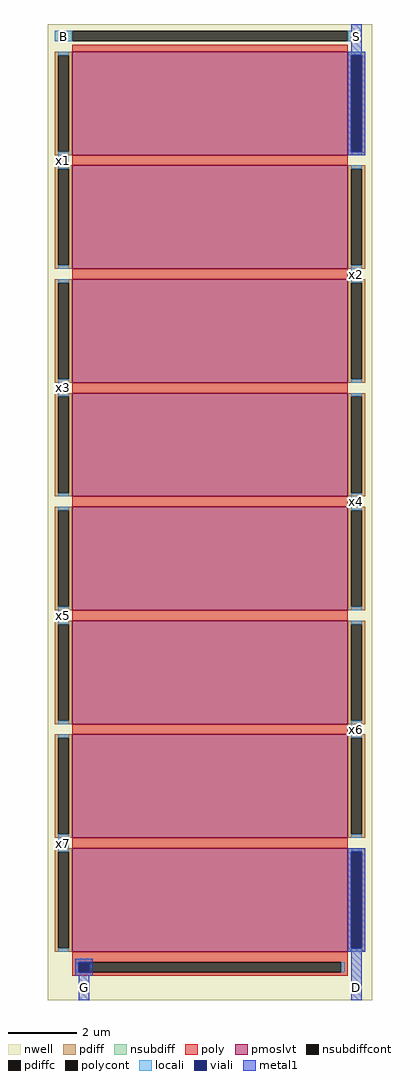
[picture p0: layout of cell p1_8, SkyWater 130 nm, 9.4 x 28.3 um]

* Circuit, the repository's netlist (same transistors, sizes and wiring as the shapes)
* NGSPICE file created from p1_8.ext - technology: sky130A

.subckt p1_8 D G S B
X0 x4 G x3 B sky130_fd_pr__pfet_01v8_lvt ad=3e+12p pd=1.4e+07u as=3e+12p ps=1.4e+07u w=3e+06u l=8e+06u
X1 S G x1 B sky130_fd_pr__pfet_01v8_lvt ad=1.5e+12p pd=7e+06u as=3e+12p ps=1.4e+07u w=3e+06u l=8e+06u
X2 x6 G x5 B sky130_fd_pr__pfet_01v8_lvt ad=3e+12p pd=1.4e+07u as=3e+12p ps=1.4e+07u w=3e+06u l=8e+06u
X3 x2 G x1 B sky130_fd_pr__pfet_01v8_lvt ad=3e+12p pd=1.4e+07u as=0p ps=0u w=3e+06u l=8e+06u
X4 x6 G x7 B sky130_fd_pr__pfet_01v8_lvt ad=0p pd=0u as=3e+12p ps=1.4e+07u w=3e+06u l=8e+06u
X5 x2 G x3 B sky130_fd_pr__pfet_01v8_lvt ad=0p pd=0u as=0p ps=0u w=3e+06u l=8e+06u
X6 x4 G x5 B sky130_fd_pr__pfet_01v8_lvt ad=0p pd=0u as=0p ps=0u w=3e+06u l=8e+06u
X7 D G x7 B sky130_fd_pr__pfet_01v8_lvt ad=1.5e+12p pd=7e+06u as=0p ps=0u w=3e+06u l=8e+06u
.ends

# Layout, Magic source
magic
tech sky130A
<< nwell >>
rect -370 -140 570 2690
<< pmoslvt >>
rect -300 2310 500 2610
rect -300 1980 500 2280
rect -300 1650 500 1950
rect -300 1320 500 1620
rect -300 990 500 1290
rect -300 660 500 960
rect -300 330 500 630
rect -300 0 500 300
<< pdiff >>
rect -350 2600 -300 2610
rect -350 2320 -340 2600
rect -310 2320 -300 2600
rect -350 2310 -300 2320
rect 500 2600 550 2610
rect 500 2320 510 2600
rect 540 2320 550 2600
rect 500 2310 550 2320
rect -350 2270 -300 2280
rect -350 1990 -340 2270
rect -310 1990 -300 2270
rect -350 1980 -300 1990
rect 500 2270 550 2280
rect 500 1990 510 2270
rect 540 1990 550 2270
rect 500 1980 550 1990
rect -350 1940 -300 1950
rect -350 1660 -340 1940
rect -310 1660 -300 1940
rect -350 1650 -300 1660
rect 500 1940 550 1950
rect 500 1660 510 1940
rect 540 1660 550 1940
rect 500 1650 550 1660
rect -350 1610 -300 1620
rect -350 1330 -340 1610
rect -310 1330 -300 1610
rect -350 1320 -300 1330
rect 500 1610 550 1620
rect 500 1330 510 1610
rect 540 1330 550 1610
rect 500 1320 550 1330
rect -350 1280 -300 1290
rect -350 1000 -340 1280
rect -310 1000 -300 1280
rect -350 990 -300 1000
rect 500 1280 550 1290
rect 500 1000 510 1280
rect 540 1000 550 1280
rect 500 990 550 1000
rect -350 950 -300 960
rect -350 670 -340 950
rect -310 670 -300 950
rect -350 660 -300 670
rect 500 950 550 960
rect 500 670 510 950
rect 540 670 550 950
rect 500 660 550 670
rect -350 620 -300 630
rect -350 340 -340 620
rect -310 340 -300 620
rect -350 330 -300 340
rect 500 620 550 630
rect 500 340 510 620
rect 540 340 550 620
rect 500 330 550 340
rect -350 290 -300 300
rect -350 10 -340 290
rect -310 10 -300 290
rect -350 0 -300 10
rect 500 290 550 300
rect 500 10 510 290
rect 540 10 550 290
rect 500 0 550 10
<< pdiffc >>
rect -340 2320 -310 2600
rect 510 2320 540 2600
rect -340 1990 -310 2270
rect 510 1990 540 2270
rect -340 1660 -310 1940
rect 510 1660 540 1940
rect -340 1330 -310 1610
rect 510 1330 540 1610
rect -340 1000 -310 1280
rect 510 1000 540 1280
rect -340 670 -310 950
rect 510 670 540 950
rect -340 340 -310 620
rect 510 340 540 620
rect -340 10 -310 290
rect 510 10 540 290
<< nsubdiff >>
rect -350 2640 -300 2670
rect 500 2640 540 2670
<< nsubdiffcont >>
rect -300 2640 500 2670
<< poly >>
rect -300 2610 500 2630
rect -300 2280 500 2310
rect -300 1950 500 1980
rect -300 1620 500 1650
rect -300 1290 500 1320
rect -300 960 500 990
rect -300 630 500 660
rect -300 300 500 330
rect -300 -30 500 0
rect -300 -60 -280 -30
rect 480 -60 500 -30
rect -300 -70 500 -60
<< polycont >>
rect -280 -60 480 -30
<< locali >>
rect -350 2640 -300 2670
rect 500 2640 540 2670
rect -340 2600 -310 2610
rect -340 2270 -310 2320
rect 510 2600 540 2610
rect 510 2310 540 2320
rect -340 1980 -310 1990
rect 510 2270 540 2280
rect -340 1940 -310 1950
rect -340 1610 -310 1660
rect 510 1940 540 1990
rect 510 1650 540 1660
rect -340 1320 -310 1330
rect 510 1610 540 1620
rect -340 1280 -310 1290
rect -340 950 -310 1000
rect 510 1280 540 1330
rect 510 990 540 1000
rect -340 660 -310 670
rect 510 950 540 960
rect -340 620 -310 630
rect -340 290 -310 340
rect 510 620 540 670
rect 510 330 540 340
rect -340 0 -310 10
rect 510 290 540 300
rect 510 0 540 10
rect -290 -60 -280 -30
rect 480 -60 490 -30
<< viali >>
rect 510 2320 540 2600
rect 510 10 540 290
rect -280 -60 -250 -30
<< metal1 >>
rect 510 2610 540 2690
rect 500 2600 550 2610
rect 500 2320 510 2600
rect 540 2320 550 2600
rect 500 2310 550 2320
rect 500 290 550 300
rect 500 10 510 290
rect 540 10 550 290
rect 500 0 550 10
rect -290 -30 -240 -20
rect -290 -60 -280 -30
rect -250 -60 -240 -30
rect -290 -70 -240 -60
rect -280 -140 -250 -70
rect 510 -140 540 0
<< labels >>
rlabel metal1 520 -110 530 -100 1 D
port 1 n
rlabel metal1 -270 -110 -260 -100 1 G
port 2 n
rlabel metal1 520 2650 530 2660 1 S
port 3 n
rlabel locali -330 2290 -320 2300 1 x1
rlabel locali 520 1960 530 1970 1 x2
rlabel locali -330 1630 -320 1640 1 x3
rlabel locali 520 1300 530 1310 1 x4
rlabel locali -330 970 -320 980 1 x5
rlabel locali 520 640 530 650 1 x6
rlabel locali -330 310 -320 320 1 x7
rlabel locali -330 2650 -320 2660 1 B
port 4 n
<< end >>
